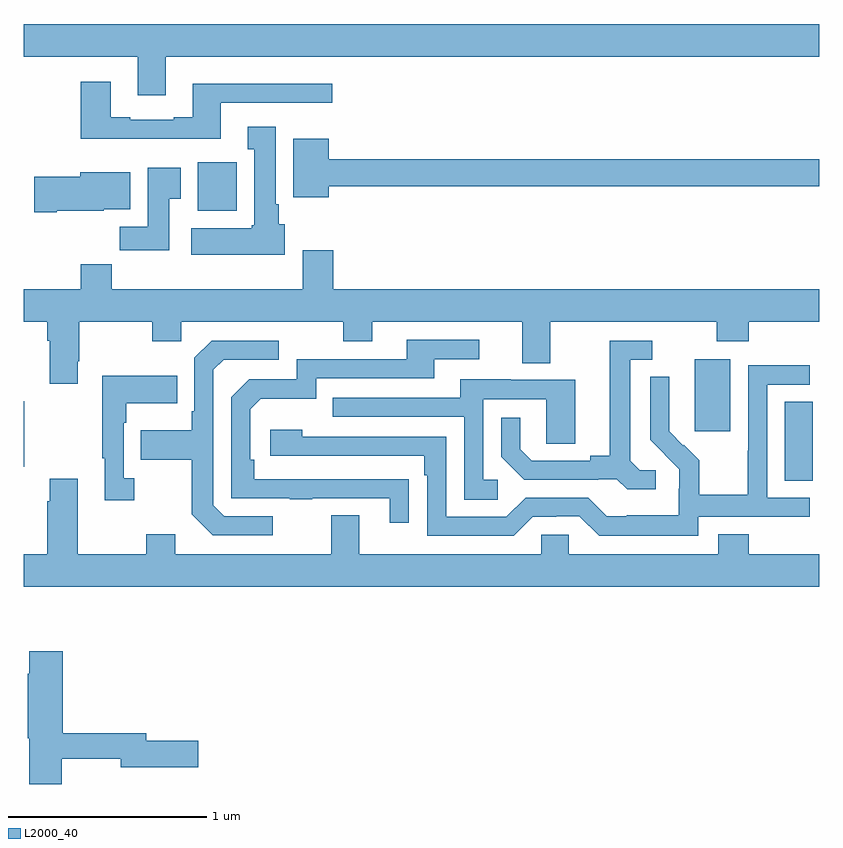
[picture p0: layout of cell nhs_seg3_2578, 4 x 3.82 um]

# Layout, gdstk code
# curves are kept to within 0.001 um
import gdstk
lib = gdstk.Library(unit=1e-6, precision=1e-09)
def R(c, l, rs):  # rectangles x0, y0, x1, y1
    for r in rs: c.add(gdstk.rectangle(r[:2], r[2:], *l))
def P(c, l, *ps):  # polygons
    for p in ps: c.add(gdstk.Polygon(p, *l))
L2000_40 = (2000, 40)

nhs_seg3_2578 = lib.new_cell('nhs_seg3_2578')
R(nhs_seg3_2578, L2000_40, [(246.827,736.081,246.966,736.478), (243,736.15,243.003,736.481), (246.374,736.329,246.553,736.69), (243.875,737.438,244.072,737.68)])
P(nhs_seg3_2578, L2000_40, [(243.715,738.212),(247,738.212),(247,738.376),(243,738.376),(243,738.212),(243.575,738.212),(243.575,738.018),(243.715,738.018)],
  [(243.991,737.979),(244.552,737.979),(244.552,738.076),(243.851,738.076),(243.851,737.908),(243.755,737.908),(243.755,737.895),(243.535,737.895),(243.535,737.908),(243.439,737.908),(243.439,738.085),(243.287,738.085),(243.287,737.798),(243.991,737.798)],
  [(244.312,737.37),(244.282,737.37),(244.282,737.47),(244.267,737.47),(244.267,737.86),(244.127,737.86),(244.127,737.747),(244.16,737.747),(244.16,737.364),(244.147,737.364),(244.147,737.35),(243.843,737.35),(243.843,737.216),(244.312,737.216)],
  [(244.534,737.56),(247,737.56),(247,737.696),(244.534,737.696),(244.534,737.8),(244.355,737.8),(244.355,737.504),(244.534,737.504)],
  [(243.733,737.497),(243.79,737.497),(243.79,737.653),(243.623,737.653),(243.623,737.356),(243.484,737.356),(243.484,737.238),(243.733,737.238)],
  [(243.166,737.438),(243.402,737.438),(243.402,737.444),(243.535,737.444),(243.535,737.632),(243.284,737.632),(243.284,737.609),(243.054,737.609),(243.054,737.431),(243.166,737.431)],
  [(243.271,736.681),(243.279,736.681),(243.279,736.88),(243.646,736.88),(243.646,736.781),(243.792,736.781),(243.792,736.88),(244.606,736.88),(244.606,736.781),(244.753,736.781),(244.753,736.88),(245.507,736.88),(245.507,736.672),(245.647,736.672),(245.647,736.88),(246.484,736.88),(246.484,736.781),(246.644,736.781),(246.644,736.88),(247,736.88),(247,737.044),(244.556,737.044),(244.556,737.239),(244.403,737.239),(244.403,737.044),(243.443,737.044),(243.443,737.168),(243.287,737.168),(243.287,737.044),(243,737.044),(243,736.88),(243.119,736.88),(243.119,736.784),(243.131,736.784),(243.131,736.569),(243.271,736.569)],
  [(244.937,736.088),(244.16,736.089),(244.16,736.186),(244.14,736.186),(244.14,736.44),(244.193,736.493),(244.47,736.493),(244.47,736.596),(245.065,736.596),(245.065,736.692),(245.29,736.692),(245.29,736.788),(244.925,736.788),(244.925,736.692),(244.374,736.692),(244.374,736.59),(244.134,736.59),(244.044,736.5),(244.044,735.993),(244.339,735.993),(244.339,735.988),(244.451,735.988),(244.451,735.993),(244.841,735.993),(244.841,735.87),(244.937,735.87)],
  [(244.252,735.903),(244.008,735.903),(243.954,735.957),(243.954,736.638),(244.005,736.689),(244.282,736.689),(244.282,736.785),(243.945,736.785),(243.858,736.698),(243.858,736.429),(243.846,736.429),(243.846,736.333),(243.589,736.333),(243.589,736.186),(243.846,736.186),(243.846,735.913),(243.951,735.807),(244.252,735.807)],
  [(246.178,736.134),(246.096,736.134),(246.049,736.181),(246.049,736.689),(246.16,736.689),(246.16,736.785),(245.945,736.785),(245.945,736.205),(245.849,736.205),(245.849,736.182),(245.554,736.182),(245.497,736.239),(245.497,736.396),(245.4,736.396),(245.4,736.202),(245.516,736.086),(245.888,736.086),(245.888,736.089),(245.982,736.089),(246.034,736.037),(246.178,736.037)],
  [(246.39,735.9),(246.952,735.9),(246.952,735.996),(246.738,735.996),(246.738,736.563),(246.952,736.563),(246.952,736.662),(246.642,736.662),(246.642,736.232),(246.64,736.232),(246.64,736.009),(246.395,736.009),(246.395,736.183),(246.318,736.26),(246.315,736.257),(246.245,736.328),(246.246,736.604),(246.15,736.604),(246.15,736.286),(246.296,736.138),(246.296,736.041),(246.294,736.041),(246.294,735.907),(246.031,735.907),(246.031,735.903),(245.931,735.903),(245.838,735.996),(245.523,735.996),(245.427,735.9),(245.124,735.9),(245.124,736.302),(244.4,736.302),(244.4,736.336),(244.239,736.336),(244.239,736.206),(245.015,736.206),(245.015,736.109),(245.028,736.109),(245.028,735.804),(245.463,735.804),(245.559,735.9),(245.678,735.9),(245.678,735.903),(245.793,735.903),(245.893,735.803),(246.39,735.803)],
  [(243.556,736.094),(243.504,736.094),(243.504,736.373),(243.517,736.373),(243.517,736.469),(243.773,736.469),(243.773,736.609),(243.396,736.609),(243.396,736.193),(243.407,736.193),(243.407,735.981),(243.556,735.981)],
  [(245.383,736.086),(245.31,736.086),(245.31,736.491),(245.628,736.491),(245.628,736.267),(245.773,736.267),(245.773,736.587),(245.449,736.587),(245.449,736.591),(245.195,736.591),(245.195,736.497),(244.555,736.497),(244.555,736.401),(245.214,736.401),(245.214,735.985),(245.383,735.985)],
  [(247,735.712),(246.644,735.712),(246.644,735.811),(246.491,735.811),(246.491,735.712),(245.739,735.712),(245.739,735.81),(245.601,735.81),(245.601,735.712),(244.687,735.712),(244.687,735.907),(244.547,735.907),(244.547,735.712),(243.763,735.712),(243.763,735.811),(243.616,735.811),(243.616,735.712),(243.271,735.712),(243.271,736.09),(243.131,736.09),(243.131,735.977),(243.119,735.977),(243.119,735.712),(243,735.712),(243,735.548),(247,735.548)],
  [(243.192,734.682),(243.488,734.682),(243.488,734.639),(243.877,734.639),(243.877,734.774),(243.616,734.774),(243.616,734.81),(243.197,734.81),(243.197,735.223),(243.029,735.223),(243.029,735.11),(243.022,735.11),(243.022,734.787),(243.029,734.787),(243.029,734.556),(243.192,734.556)])

lib.write_gds('nhs_seg3_2578.gds')
